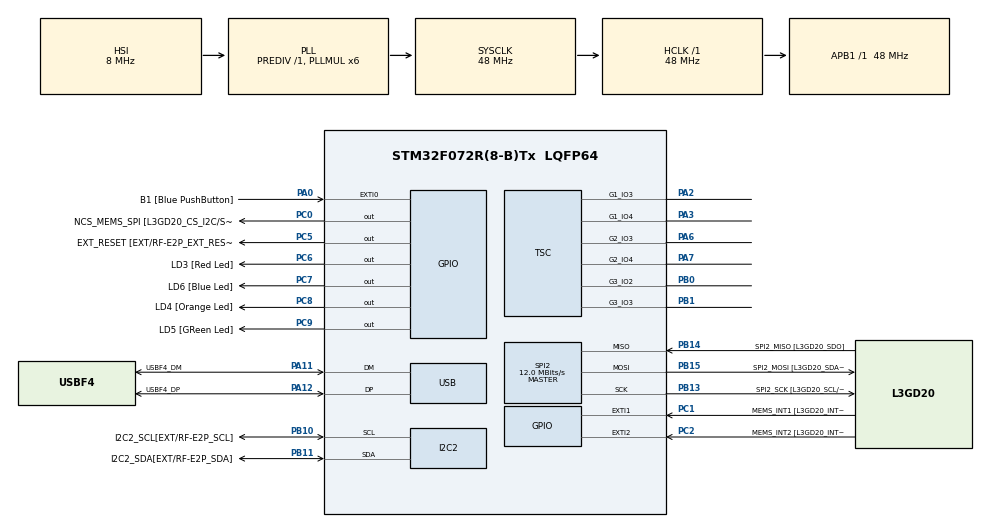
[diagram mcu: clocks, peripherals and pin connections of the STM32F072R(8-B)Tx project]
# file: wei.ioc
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I2C2.Timing=0x20303E5D
Mcu.Family=STM32F0
Mcu.Name=STM32F072R(8-B)Tx
Mcu.Package=LQFP64
NVIC.USB_IRQn=true\:0\:0\:false\:false\:true\:false\:true\:true
PA0.GPIO_Label=B1 [Blue PushButton]
PA0.GPIO_ModeDefaultEXTI=GPIO_MODE_EVT_RISING
PA0.Signal=GPXTI0
PA11.GPIO_Label=USBF4_DM
PA11.Mode=Device
PA11.Signal=USB_DM
PA12.GPIO_Label=USBF4_DP
PA12.Mode=Device
PA12.Signal=USB_DP
PA13.GPIO_Label=SWDIO
PA13.Mode=Serial_Wire
PA13.Signal=SYS_SWDIO
PA14.GPIO_Label=SWCLK
PA14.Mode=Serial_Wire
PA14.Signal=SYS_SWCLK
PA2.Mode=G1_IO3-Channel
PA2.Signal=TSC_G1_IO3
PA3.Mode=G1_IO4-Sampling
PA3.Signal=TSC_G1_IO4
PA6.Mode=G2_IO3-Channel
PA6.Signal=TSC_G2_IO3
PA7.Mode=G2_IO4-Sampling
PA7.Signal=TSC_G2_IO4
PB0.Mode=G3_IO2-Channel
PB0.Signal=TSC_G3_IO2
PB1.Mode=G3_IO3-Sampling
PB1.Signal=TSC_G3_IO3
PB10.GPIO_Label=I2C2_SCL[EXT/RF-E2P_SCL]
PB10.GPIO_Pu=GPIO_PULLUP
PB10.Mode=I2C
PB10.Signal=I2C2_SCL
PB11.GPIO_Label=I2C2_SDA[EXT/RF-E2P_SDA]
PB11.GPIO_Pu=GPIO_PULLUP
PB11.Mode=I2C
PB11.Signal=I2C2_SDA
PB13.GPIO_Label=SPI2_SCK [L3GD20_SCL/SPC]
PB13.Mode=Full_Duplex_Master
PB13.Signal=SPI2_SCK
PB14.GPIO_Label=SPI2_MISO [L3GD20_SDO]
PB14.Mode=Full_Duplex_Master
PB14.Signal=SPI2_MISO
PB15.GPIO_Label=SPI2_MOSI [L3GD20_SDA/SDI]
PB15.Mode=Full_Duplex_Master
PB15.Signal=SPI2_MOSI
PC0.GPIO_Label=NCS_MEMS_SPI [L3GD20_CS_I2C/SPI]
PC0.Signal=GPIO_Output
PC1.GPIO_Label=MEMS_INT1 [L3GD20_INT1]
PC1.GPIO_ModeDefaultEXTI=GPIO_MODE_EVT_RISING
PC1.Signal=GPXTI1
PC2.GPIO_Label=MEMS_INT2 [L3GD20_INT2]
PC2.GPIO_ModeDefaultEXTI=GPIO_MODE_EVT_RISING
PC2.Signal=GPXTI2
PC5.GPIO_Label=EXT_RESET [EXT/RF-E2P_EXT_RESET]
PC5.Signal=GPIO_Output
PC6.GPIO_Label=LD3 [Red Led]
PC6.Signal=GPIO_Output
PC7.GPIO_Label=LD6 [Blue Led]
PC7.Signal=GPIO_Output
PC8.GPIO_Label=LD4 [Orange Led]
PC8.Signal=GPIO_Output
PC9.GPIO_Label=LD5 [GReen Led]
PC9.Signal=GPIO_Output
ProjectManager.HeapSize=0x200
ProjectManager.StackSize=0x400
ProjectManager.TargetToolchain=CMake
RCC.AHBFreq_Value=48000000
RCC.APB1Freq_Value=48000000
RCC.APB1TimFreq_Value=48000000
RCC.HCLKFreq_Value=48000000
RCC.PLLMUL=RCC_PLL_MUL6
RCC.SYSCLKFreq_VALUE=48000000
RCC.SYSCLKSource=RCC_SYSCLKSOURCE_PLLCLK
RCC.USBFreq_Value=48000000
SPI2.BaudRatePrescaler=SPI_BAUDRATEPRESCALER_4
SPI2.CalculateBaudRate=12.0 MBits/s
SPI2.Direction=SPI_DIRECTION_2LINES
SPI2.Mode=SPI_MODE_MASTER
SPI2.VirtualType=VM_MASTER
TSC.ChannelIOs-G1_IO3-Channel=TSC_GROUP1_IO3
TSC.ChannelIOs-G2_IO3-Channel=TSC_GROUP2_IO3
TSC.ChannelIOs-G3_IO2-Channel=TSC_GROUP3_IO2
TSC.SamplingIOs-G1_IO4-Sampling=TSC_GROUP1_IO4
TSC.SamplingIOs-G2_IO4-Sampling=TSC_GROUP2_IO4
TSC.SamplingIOs-G3_IO3-Sampling=TSC_GROUP3_IO3
USB.phy_itface=PCD_PHY_EMBEDDED
USB.speed=PCD_SPEED_FULL
USB_DEVICE.CLASS_NAME_FS=CDC
USB_DEVICE.VirtualMode=Cdc
USB_DEVICE.VirtualModeFS=Cdc_FS
VP_USB_DEVICE_VS_USB_DEVICE_CDC_FS.Mode=CDC_FS
board=STM32F072B-DISCO

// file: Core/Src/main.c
/* USER CODE BEGIN Header */
/**
  ******************************************************************************
  * @file           : main.c
  * @brief          : Main program body
  ******************************************************************************
  * @attention
  *
  * Copyright (c) 2024 STMicroelectronics.
  * All rights reserved.
  *
  * This software is licensed under terms that can be found in the LICENSE file
  * in the root directory of this software component.
  * If no LICENSE file comes with this software, it is provided AS-IS.
  *
  ******************************************************************************
  */
/* USER CODE END Header */
#include "main.h"
#include "usb_device.h"

/* USER CODE BEGIN Includes */
#include "usbd_cdc_if.h"
/* USER CODE END Includes */

I2C_HandleTypeDef hi2c2;

SPI_HandleTypeDef hspi2;

TSC_HandleTypeDef htsc;

void SystemClock_Config(void);
static void MX_GPIO_Init(void);
static void MX_I2C2_Init(void);
static void MX_SPI2_Init(void);
static void MX_TSC_Init(void);

int main(void)
{

  /* MCU Configuration--------------------------------------------------------*/

  /* Reset of all peripherals, Initializes the Flash interface and the Systick. */
  HAL_Init();

  /* Configure the system clock */
  SystemClock_Config();

  /* Initialize all configured peripherals */
  MX_GPIO_Init();
  MX_I2C2_Init();
  MX_SPI2_Init();
  MX_TSC_Init();
  MX_USB_DEVICE_Init();
  /* USER CODE BEGIN 2 */
  // Enable the red LED by default
  HAL_GPIO_WritePin(LD3_GPIO_Port, LD3_Pin, 1);
  /* USER CODE END 2 */

  /* Infinite loop */
  while (1)
  {

  }
}

void SystemClock_Config(void)
{
  RCC_OscInitTypeDef RCC_OscInitStruct = {0};
  RCC_ClkInitTypeDef RCC_ClkInitStruct = {0};
  RCC_PeriphCLKInitTypeDef PeriphClkInit = {0};

  /** Initializes the RCC Oscillators according to the specified parameters
  * in the RCC_OscInitTypeDef structure.
  */
  RCC_OscInitStruct.OscillatorType = RCC_OSCILLATORTYPE_HSI|RCC_OSCILLATORTYPE_HSI48;
  RCC_OscInitStruct.HSIState = RCC_HSI_ON;
  RCC_OscInitStruct.HSI48State = RCC_HSI48_ON;
  RCC_OscInitStruct.HSICalibrationValue = RCC_HSICALIBRATION_DEFAULT;
  RCC_OscInitStruct.PLL.PLLState = RCC_PLL_ON;
  RCC_OscInitStruct.PLL.PLLSource = RCC_PLLSOURCE_HSI;
  RCC_OscInitStruct.PLL.PLLMUL = RCC_PLL_MUL6;
  RCC_OscInitStruct.PLL.PREDIV = RCC_PREDIV_DIV1;
  if (HAL_RCC_OscConfig(&RCC_OscInitStruct) != HAL_OK)
  {
    Error_Handler();
  }

  /** Initializes the CPU, AHB and APB buses clocks
  */
  RCC_ClkInitStruct.ClockType = RCC_CLOCKTYPE_HCLK|RCC_CLOCKTYPE_SYSCLK
                              |RCC_CLOCKTYPE_PCLK1;
  RCC_ClkInitStruct.SYSCLKSource = RCC_SYSCLKSOURCE_PLLCLK;
  RCC_ClkInitStruct.AHBCLKDivider = RCC_SYSCLK_DIV1;
  RCC_ClkInitStruct.APB1CLKDivider = RCC_HCLK_DIV1;

  if (HAL_RCC_ClockConfig(&RCC_ClkInitStruct, FLASH_LATENCY_1) != HAL_OK)
  {
    Error_Handler();
  }
  PeriphClkInit.PeriphClockSelection = RCC_PERIPHCLK_USB;
  PeriphClkInit.UsbClockSelection = RCC_USBCLKSOURCE_HSI48;

  if (HAL_RCCEx_PeriphCLKConfig(&PeriphClkInit) != HAL_OK)
  {
    Error_Handler();
  }
}

static void MX_I2C2_Init(void)
{

  hi2c2.Instance = I2C2;
  hi2c2.Init.Timing = 0x20303E5D;
  hi2c2.Init.OwnAddress1 = 0;
  hi2c2.Init.AddressingMode = I2C_ADDRESSINGMODE_7BIT;
  hi2c2.Init.DualAddressMode = I2C_DUALADDRESS_DISABLE;
  hi2c2.Init.OwnAddress2 = 0;
  hi2c2.Init.OwnAddress2Masks = I2C_OA2_NOMASK;
  hi2c2.Init.GeneralCallMode = I2C_GENERALCALL_DISABLE;
  hi2c2.Init.NoStretchMode = I2C_NOSTRETCH_DISABLE;
  if (HAL_I2C_Init(&hi2c2) != HAL_OK)
  {
    Error_Handler();
  }

  /** Configure Analogue filter
  */
  if (HAL_I2CEx_ConfigAnalogFilter(&hi2c2, I2C_ANALOGFILTER_ENABLE) != HAL_OK)
  {
    Error_Handler();
  }

  /** Configure Digital filter
  */
  if (HAL_I2CEx_ConfigDigitalFilter(&hi2c2, 0) != HAL_OK)
  {
    Error_Handler();
  }

}

static void MX_SPI2_Init(void)
{

  /* SPI2 parameter configuration*/
  hspi2.Instance = SPI2;
  hspi2.Init.Mode = SPI_MODE_MASTER;
  hspi2.Init.Direction = SPI_DIRECTION_2LINES;
  hspi2.Init.DataSize = SPI_DATASIZE_4BIT;
  hspi2.Init.CLKPolarity = SPI_POLARITY_LOW;
  hspi2.Init.CLKPhase = SPI_PHASE_1EDGE;
  hspi2.Init.NSS = SPI_NSS_SOFT;
  hspi2.Init.BaudRatePrescaler = SPI_BAUDRATEPRESCALER_4;
  hspi2.Init.FirstBit = SPI_FIRSTBIT_MSB;
  hspi2.Init.TIMode = SPI_TIMODE_DISABLE;
  hspi2.Init.CRCCalculation = SPI_CRCCALCULATION_DISABLE;
  hspi2.Init.CRCPolynomial = 7;
  hspi2.Init.CRCLength = SPI_CRC_LENGTH_DATASIZE;
  hspi2.Init.NSSPMode = SPI_NSS_PULSE_ENABLE;
  if (HAL_SPI_Init(&hspi2) != HAL_OK)
  {
    Error_Handler();
  }

}

static void MX_TSC_Init(void)
{

  /** Configure the TSC peripheral
  */
  htsc.Instance = TSC;
  htsc.Init.CTPulseHighLength = TSC_CTPH_2CYCLES;
  htsc.Init.CTPulseLowLength = TSC_CTPL_2CYCLES;
  htsc.Init.SpreadSpectrum = DISABLE;
  htsc.Init.SpreadSpectrumDeviation = 1;
  htsc.Init.SpreadSpectrumPrescaler = TSC_SS_PRESC_DIV1;
  htsc.Init.PulseGeneratorPrescaler = TSC_PG_PRESC_DIV4;
  htsc.Init.MaxCountValue = TSC_MCV_8191;
  htsc.Init.IODefaultMode = TSC_IODEF_OUT_PP_LOW;
  htsc.Init.SynchroPinPolarity = TSC_SYNC_POLARITY_FALLING;
  htsc.Init.AcquisitionMode = TSC_ACQ_MODE_NORMAL;
  htsc.Init.MaxCountInterrupt = DISABLE;
  htsc.Init.ChannelIOs = TSC_GROUP1_IO3|TSC_GROUP2_IO3|TSC_GROUP3_IO2;
  htsc.Init.ShieldIOs = 0;
  htsc.Init.SamplingIOs = TSC_GROUP1_IO4|TSC_GROUP2_IO4|TSC_GROUP3_IO3;
  if (HAL_TSC_Init(&htsc) != HAL_OK)
  {
    Error_Handler();
  }

}

static void MX_GPIO_Init(void)
{
  GPIO_InitTypeDef GPIO_InitStruct = {0};

  /* GPIO Ports Clock Enable */
  __HAL_RCC_GPIOC_CLK_ENABLE();
  __HAL_RCC_GPIOA_CLK_ENABLE();
  __HAL_RCC_GPIOB_CLK_ENABLE();

  /*Configure GPIO pin Output Level */
  HAL_GPIO_WritePin(GPIOC, NCS_MEMS_SPI_Pin|EXT_RESET_Pin|LD3_Pin|LD6_Pin
                          |LD4_Pin|LD5_Pin, GPIO_PIN_RESET);

  /*Configure GPIO pins : NCS_MEMS_SPI_Pin EXT_RESET_Pin LD3_Pin LD6_Pin
                           LD4_Pin LD5_Pin */
  GPIO_InitStruct.Pin = NCS_MEMS_SPI_Pin|EXT_RESET_Pin|LD3_Pin|LD6_Pin
                          |LD4_Pin|LD5_Pin;
  GPIO_InitStruct.Mode = GPIO_MODE_OUTPUT_PP;
  GPIO_InitStruct.Pull = GPIO_NOPULL;
  GPIO_InitStruct.Speed = GPIO_SPEED_FREQ_LOW;
  HAL_GPIO_Init(GPIOC, &GPIO_InitStruct);

  /*Configure GPIO pins : MEMS_INT1_Pin MEMS_INT2_Pin */
  GPIO_InitStruct.Pin = MEMS_INT1_Pin|MEMS_INT2_Pin;
  GPIO_InitStruct.Mode = GPIO_MODE_EVT_RISING;
  GPIO_InitStruct.Pull = GPIO_NOPULL;
  HAL_GPIO_Init(GPIOC, &GPIO_InitStruct);

  /*Configure GPIO pin : B1_Pin */
  GPIO_InitStruct.Pin = B1_Pin;
  GPIO_InitStruct.Mode = GPIO_MODE_EVT_RISING;
  GPIO_InitStruct.Pull = GPIO_NOPULL;
  HAL_GPIO_Init(B1_GPIO_Port, &GPIO_InitStruct);

}

/* USER CODE BEGIN 4 */
void reset_led_pins() {
  HAL_GPIO_WritePin(LD3_GPIO_Port, LD3_Pin, 0);
  HAL_GPIO_WritePin(LD4_GPIO_Port, LD4_Pin, 0);
  HAL_GPIO_WritePin(LD5_GPIO_Port, LD5_Pin, 0);
  HAL_GPIO_WritePin(LD6_GPIO_Port, LD6_Pin, 0);
}
void USB_CDC_RxHandler(uint8_t* buf, uint32_t len)
{
    reset_led_pins();

    // default GPIO port and pin is RED
    GPIO_TypeDef* GPIO_Port = LD3_GPIO_Port;
    uint16_t GPIO_Pin = LD3_Pin;

    if (buf[0] == '4') {
      GPIO_Port = LD4_GPIO_Port;
      GPIO_Pin = LD4_Pin;
    } else if (buf[0] == '5')
    {
      GPIO_Port = LD5_GPIO_Port;
      GPIO_Pin = LD5_Pin;
    } else if (buf[0] == '6')
    {
      GPIO_Port = LD6_GPIO_Port;
      GPIO_Pin = LD6_Pin;
    }

    HAL_GPIO_WritePin(GPIO_Port, GPIO_Pin, 1);
}
/* USER CODE END 4 */

void Error_Handler(void)
{
  __disable_irq();
  while (1)
  {
  }
}
